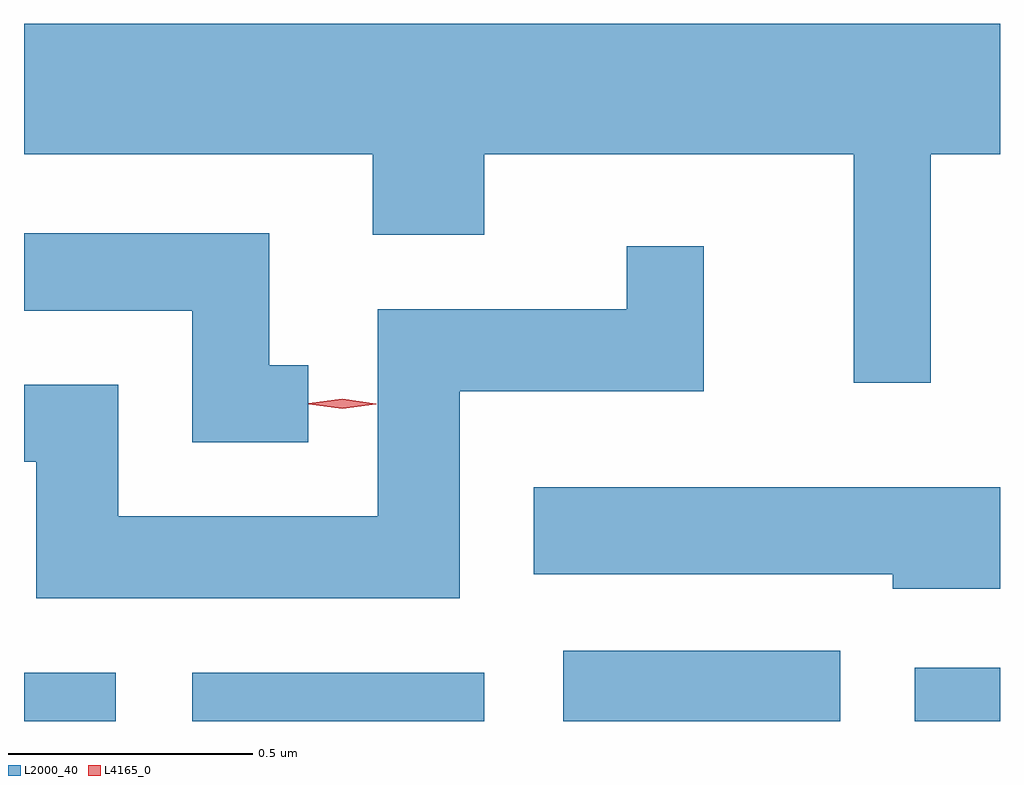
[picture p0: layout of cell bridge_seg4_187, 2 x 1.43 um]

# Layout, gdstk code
import gdstk
lib = gdstk.Library(unit=1e-6, precision=1e-09)
def R(c, l, rs):  # rectangles x0, y0, x1, y1
    for r in rs: c.add(gdstk.rectangle(r[:2], r[2:], *l))
def P(c, l, *ps):  # polygons
    for p in ps: c.add(gdstk.Polygon(p, *l))
L2000_40 = (2000, 40)
L4165_0 = (4165, 0)

bridge_seg4_187 = lib.new_cell('bridge_seg4_187')
R(bridge_seg4_187, L2000_40, [(980.496,1264.714,980.684,1264.814), (980.841,1264.714,981.439,1264.814), (981.601,1264.714,982.169,1264.859), (982.321,1264.714,982.496,1264.824)])
P(bridge_seg4_187, L2000_40, [(982.354,1265.876),(982.496,1265.876),(982.496,1266.144),(980.496,1266.144),(980.496,1265.876),(981.211,1265.876),(981.211,1265.711),(981.439,1265.711),(981.439,1265.876),(982.196,1265.876),(982.196,1265.408),(982.354,1265.408)],
  [(981.078,1265.444),(980.999,1265.444),(980.999,1265.714),(980.496,1265.714),(980.496,1265.556),(980.841,1265.556),(980.841,1265.286),(981.078,1265.286)],
  [(981.389,1265.391),(981.889,1265.391),(981.889,1265.688),(981.731,1265.688),(981.731,1265.559),(981.221,1265.559),(981.221,1265.134),(980.689,1265.134),(980.689,1265.404),(980.496,1265.404),(980.496,1265.246),(980.521,1265.246),(980.521,1264.966),(981.389,1264.966)],
  [(982.496,1265.194),(981.541,1265.194),(981.541,1265.016),(982.276,1265.016),(982.276,1264.986),(982.496,1264.986)])
P(bridge_seg4_187, L4165_0, [(981.148,1265.355),(981.079,1265.364),(981.079,1265.365),(981.079,1265.366),(981.148,1265.375),(981.218,1265.365),(981.218,1265.364),(981.218,1265.364)])

lib.write_gds('bridge_seg4_187.gds')
